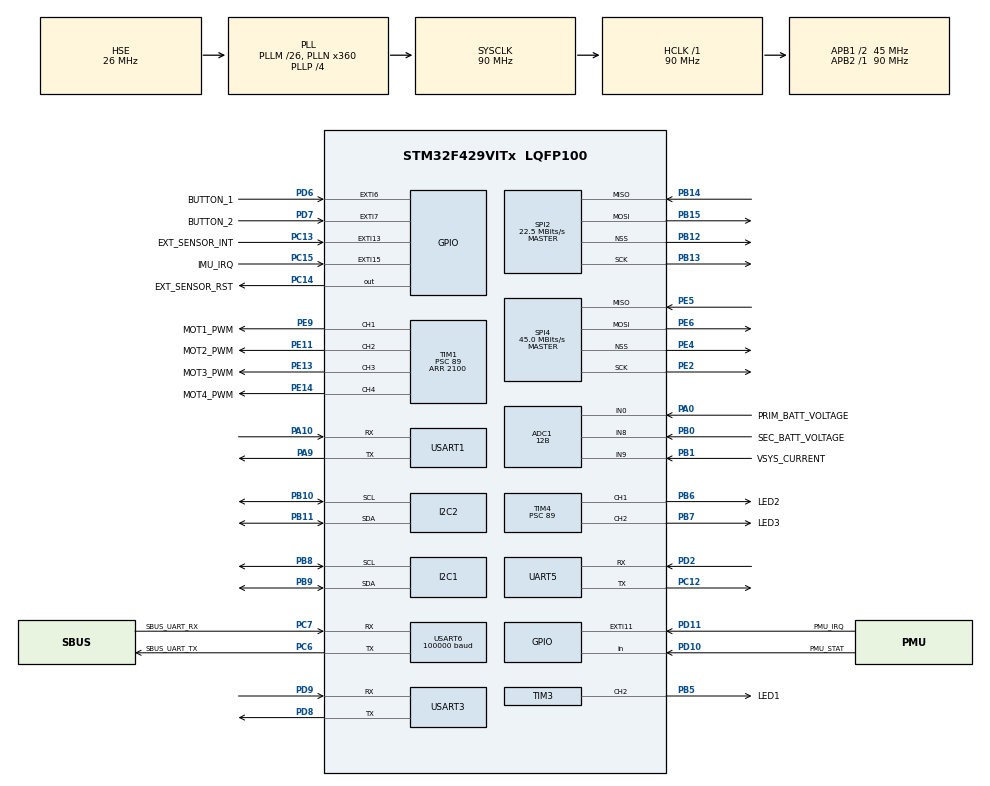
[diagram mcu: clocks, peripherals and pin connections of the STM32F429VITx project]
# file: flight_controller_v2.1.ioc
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ADC1.Channel-0\#ChannelRegularConversion=ADC_CHANNEL_0
ADC1.Channel-1\#ChannelRegularConversion=ADC_CHANNEL_8
ADC1.Channel-2\#ChannelRegularConversion=ADC_CHANNEL_9
ADC1.ClockPrescaler=ADC_CLOCK_SYNC_PCLK_DIV4
ADC1.ContinuousConvMode=DISABLE
ADC1.DMAContinuousRequests=ENABLE
ADC1.DataAlign=ADC_DATAALIGN_RIGHT
ADC1.DiscontinuousConvMode=DISABLE
ADC1.EOCSelection=ADC_EOC_SINGLE_CONV
ADC1.EnableAnalogWatchDog=false
ADC1.ExternalTrigConv=ADC_SOFTWARE_START
ADC1.ExternalTrigConvEdge=ADC_EXTERNALTRIGCONVEDGE_NONE
ADC1.InjNumberOfConversion=0
ADC1.NbrOfConversion=3
ADC1.NbrOfConversionFlag=1
ADC1.Rank-0\#ChannelRegularConversion=1
ADC1.Rank-1\#ChannelRegularConversion=2
ADC1.Rank-2\#ChannelRegularConversion=3
ADC1.Resolution=ADC_RESOLUTION_12B
ADC1.SamplingTime-0\#ChannelRegularConversion=ADC_SAMPLETIME_3CYCLES
ADC1.SamplingTime-1\#ChannelRegularConversion=ADC_SAMPLETIME_3CYCLES
ADC1.SamplingTime-2\#ChannelRegularConversion=ADC_SAMPLETIME_3CYCLES
ADC1.ScanConvMode=ENABLE
ADC1.master=1
Dma.ADC1.0.Direction=DMA_PERIPH_TO_MEMORY
Dma.ADC1.0.FIFOMode=DMA_FIFOMODE_DISABLE
Dma.ADC1.0.Instance=DMA2_Stream0
Dma.ADC1.0.MemDataAlignment=DMA_MDATAALIGN_WORD
Dma.ADC1.0.MemInc=DMA_MINC_ENABLE
Dma.ADC1.0.Mode=DMA_CIRCULAR
Dma.ADC1.0.PeriphDataAlignment=DMA_PDATAALIGN_WORD
Dma.ADC1.0.PeriphInc=DMA_PINC_DISABLE
Dma.ADC1.0.Priority=DMA_PRIORITY_LOW
Dma.I2C1_RX.1.Direction=DMA_PERIPH_TO_MEMORY
Dma.I2C1_RX.1.FIFOMode=DMA_FIFOMODE_DISABLE
Dma.I2C1_RX.1.Instance=DMA1_Stream5
Dma.I2C1_RX.1.MemDataAlignment=DMA_MDATAALIGN_BYTE
Dma.I2C1_RX.1.MemInc=DMA_MINC_ENABLE
Dma.I2C1_RX.1.Mode=DMA_NORMAL
Dma.I2C1_RX.1.PeriphDataAlignment=DMA_PDATAALIGN_BYTE
Dma.I2C1_RX.1.PeriphInc=DMA_PINC_DISABLE
Dma.I2C1_RX.1.Priority=DMA_PRIORITY_LOW
Dma.I2C1_TX.2.Direction=DMA_MEMORY_TO_PERIPH
Dma.I2C1_TX.2.FIFOMode=DMA_FIFOMODE_DISABLE
Dma.I2C1_TX.2.Instance=DMA1_Stream6
Dma.I2C1_TX.2.MemDataAlignment=DMA_MDATAALIGN_BYTE
Dma.I2C1_TX.2.MemInc=DMA_MINC_ENABLE
Dma.I2C1_TX.2.Mode=DMA_NORMAL
Dma.I2C1_TX.2.PeriphDataAlignment=DMA_PDATAALIGN_BYTE
Dma.I2C1_TX.2.PeriphInc=DMA_PINC_DISABLE
Dma.I2C1_TX.2.Priority=DMA_PRIORITY_LOW
Dma.Request0=ADC1
Dma.Request1=I2C1_RX
Dma.Request2=I2C1_TX
Dma.Request3=UART5_RX
Dma.Request4=UART5_TX
Dma.Request5=USART1_RX
Dma.Request6=USART1_TX
Dma.Request7=USART6_RX
Dma.UART5_RX.3.Direction=DMA_PERIPH_TO_MEMORY
Dma.UART5_RX.3.FIFOMode=DMA_FIFOMODE_DISABLE
Dma.UART5_RX.3.Instance=DMA1_Stream0
Dma.UART5_RX.3.MemDataAlignment=DMA_MDATAALIGN_BYTE
Dma.UART5_RX.3.MemInc=DMA_MINC_ENABLE
Dma.UART5_RX.3.Mode=DMA_NORMAL
Dma.UART5_RX.3.PeriphDataAlignment=DMA_PDATAALIGN_BYTE
Dma.UART5_RX.3.PeriphInc=DMA_PINC_DISABLE
Dma.UART5_RX.3.Priority=DMA_PRIORITY_LOW
Dma.UART5_TX.4.Direction=DMA_MEMORY_TO_PERIPH
Dma.UART5_TX.4.FIFOMode=DMA_FIFOMODE_DISABLE
Dma.UART5_TX.4.Instance=DMA1_Stream7
Dma.UART5_TX.4.MemDataAlignment=DMA_MDATAALIGN_BYTE
Dma.UART5_TX.4.MemInc=DMA_MINC_ENABLE
Dma.UART5_TX.4.Mode=DMA_NORMAL
Dma.UART5_TX.4.PeriphDataAlignment=DMA_PDATAALIGN_BYTE
Dma.UART5_TX.4.PeriphInc=DMA_PINC_DISABLE
Dma.UART5_TX.4.Priority=DMA_PRIORITY_LOW
Dma.USART1_RX.5.Direction=DMA_PERIPH_TO_MEMORY
Dma.USART1_RX.5.FIFOMode=DMA_FIFOMODE_DISABLE
Dma.USART1_RX.5.Instance=DMA2_Stream2
Dma.USART1_RX.5.MemDataAlignment=DMA_MDATAALIGN_BYTE
Dma.USART1_RX.5.MemInc=DMA_MINC_ENABLE
Dma.USART1_RX.5.Mode=DMA_NORMAL
Dma.USART1_RX.5.PeriphDataAlignment=DMA_PDATAALIGN_BYTE
Dma.USART1_RX.5.PeriphInc=DMA_PINC_DISABLE
Dma.USART1_RX.5.Priority=DMA_PRIORITY_LOW
Dma.USART1_TX.6.Direction=DMA_MEMORY_TO_PERIPH
Dma.USART1_TX.6.FIFOMode=DMA_FIFOMODE_DISABLE
Dma.USART1_TX.6.Instance=DMA2_Stream7
Dma.USART1_TX.6.MemDataAlignment=DMA_MDATAALIGN_BYTE
Dma.USART1_TX.6.MemInc=DMA_MINC_ENABLE
Dma.USART1_TX.6.Mode=DMA_NORMAL
Dma.USART1_TX.6.PeriphDataAlignment=DMA_PDATAALIGN_BYTE
Dma.USART1_TX.6.PeriphInc=DMA_PINC_DISABLE
Dma.USART1_TX.6.Priority=DMA_PRIORITY_LOW
Dma.USART6_RX.7.Direction=DMA_PERIPH_TO_MEMORY
Dma.USART6_RX.7.FIFOMode=DMA_FIFOMODE_DISABLE
Dma.USART6_RX.7.Instance=DMA2_Stream1
Dma.USART6_RX.7.MemDataAlignment=DMA_MDATAALIGN_BYTE
Dma.USART6_RX.7.MemInc=DMA_MINC_ENABLE
Dma.USART6_RX.7.Mode=DMA_CIRCULAR
Dma.USART6_RX.7.PeriphDataAlignment=DMA_PDATAALIGN_BYTE
Dma.USART6_RX.7.PeriphInc=DMA_PINC_DISABLE
Dma.USART6_RX.7.Priority=DMA_PRIORITY_LOW
Mcu.Family=STM32F4
Mcu.Name=STM32F429VITx
Mcu.Package=LQFP100
NVIC.ADC_IRQn=true\:0\:0\:false\:false\:true\:true
NVIC.DMA1_Stream0_IRQn=true\:0\:0\:false\:false\:true\:false
NVIC.DMA1_Stream5_IRQn=true\:0\:0\:false\:false\:true\:false
NVIC.DMA1_Stream6_IRQn=true\:0\:0\:false\:false\:true\:false
NVIC.DMA1_Stream7_IRQn=true\:0\:0\:false\:false\:true\:false
NVIC.DMA2_Stream0_IRQn=true\:0\:0\:false\:false\:true\:false
NVIC.DMA2_Stream1_IRQn=true\:0\:0\:false\:false\:true\:false
NVIC.DMA2_Stream2_IRQn=true\:0\:0\:false\:false\:true\:false
NVIC.DMA2_Stream7_IRQn=true\:0\:0\:false\:false\:true\:false
NVIC.EXTI15_10_IRQn=true\:0\:0\:false\:false\:true\:true
NVIC.PriorityGroup=NVIC_PRIORITYGROUP_4
NVIC.UART5_IRQn=true\:0\:0\:false\:false\:true\:true
NVIC.USART1_IRQn=true\:0\:0\:false\:false\:true\:true
NVIC.USART3_IRQn=true\:0\:0\:false\:false\:true\:true
NVIC.USART6_IRQn=true\:0\:0\:false\:false\:true\:true
PA0/WKUP.GPIO_Label=PRIM_BATT_VOLTAGE
PA0/WKUP.Signal=SharedAnalog_PA0
PA10.Mode=Asynchronous
PA10.Signal=USART1_RX
PA13.Mode=JTAG_5_pins
PA13.Signal=SYS_JTMS-SWDIO
PA14.Mode=JTAG_5_pins
PA14.Signal=SYS_JTCK-SWCLK
PA15.Mode=JTAG_5_pins
PA15.Signal=SYS_JTDI
PA9.Mode=Asynchronous
PA9.Signal=USART1_TX
PB0.GPIO_Label=SEC_BATT_VOLTAGE
PB0.Signal=SharedAnalog_PB0
PB1.GPIO_Label=VSYS_CURRENT
PB1.Signal=SharedAnalog_PB1
PB10.Mode=I2C
PB10.Signal=I2C2_SCL
PB11.Mode=I2C
PB11.Signal=I2C2_SDA
PB12.Mode=NSS_Signal_Hard_Output
PB12.Signal=SPI2_NSS
PB13.Mode=Full_Duplex_Master
PB13.Signal=SPI2_SCK
PB14.Mode=Full_Duplex_Master
PB14.Signal=SPI2_MISO
PB15.Mode=Full_Duplex_Master
PB15.Signal=SPI2_MOSI
PB3.Mode=JTAG_5_pins
PB3.Signal=SYS_JTDO-SWO
PB4.Mode=JTAG_5_pins
PB4.Signal=SYS_JTRST
PB5.GPIO_Label=LED1
PB5.Signal=S_TIM3_CH2
PB6.GPIO_Label=LED2
PB6.Signal=S_TIM4_CH1
PB7.GPIO_Label=LED3
PB7.Signal=S_TIM4_CH2
PB8.Mode=I2C
PB8.Signal=I2C1_SCL
PB9.Mode=I2C
PB9.Signal=I2C1_SDA
PC12.Mode=Asynchronous
PC12.Signal=UART5_TX
PC13.GPIO_Label=EXT_SENSOR_INT
PC13.Signal=GPXTI13
PC14/OSC32_IN.GPIO_Label=EXT_SENSOR_RST
PC14/OSC32_IN.Signal=GPIO_Output
PC15/OSC32_OUT.GPIO_Label=IMU_IRQ
PC15/OSC32_OUT.GPIO_ModeDefaultEXTI=GPIO_MODE_IT_FALLING
PC15/OSC32_OUT.Signal=GPXTI15
PC6.GPIO_Label=SBUS_UART_TX
PC6.Mode=Asynchronous
PC6.Signal=USART6_TX
PC7.GPIO_Label=SBUS_UART_RX
PC7.Mode=Asynchronous
PC7.Signal=USART6_RX
PD10.GPIO_Label=PMU_STAT
PD10.Signal=GPIO_Input
PD11.GPIO_Label=PMU_IRQ
PD11.GPIO_ModeDefaultEXTI=GPIO_MODE_IT_FALLING
PD11.Signal=GPXTI11
PD2.Mode=Asynchronous
PD2.Signal=UART5_RX
PD6.GPIO_Label=BUTTON_1
PD6.GPIO_ModeDefaultEXTI=GPIO_MODE_IT_FALLING
PD6.Signal=GPXTI6
PD7.GPIO_Label=BUTTON_2
PD7.GPIO_ModeDefaultEXTI=GPIO_MODE_IT_FALLING
PD7.Signal=GPXTI7
PD8.Mode=Asynchronous
PD8.Signal=USART3_TX
PD9.Mode=Asynchronous
PD9.Signal=USART3_RX
PE11.GPIO_Label=MOT2_PWM
PE11.Signal=S_TIM1_CH2
PE13.GPIO_Label=MOT3_PWM
PE13.Signal=S_TIM1_CH3
PE14.GPIO_Label=MOT4_PWM
PE14.Signal=S_TIM1_CH4
PE2.Mode=Full_Duplex_Master
PE2.Signal=SPI4_SCK
PE4.Mode=NSS_Signal_Hard_Output
PE4.Signal=SPI4_NSS
PE5.Mode=Full_Duplex_Master
PE5.Signal=SPI4_MISO
PE6.Mode=Full_Duplex_Master
PE6.Signal=SPI4_MOSI
PE9.GPIO_Label=MOT1_PWM
PE9.Signal=S_TIM1_CH1
PH0/OSC_IN.Mode=HSE-External-Oscillator
PH0/OSC_IN.Signal=RCC_OSC_IN
PH1/OSC_OUT.Mode=HSE-External-Oscillator
PH1/OSC_OUT.Signal=RCC_OSC_OUT
ProjectManager.HeapSize=0x200
ProjectManager.StackSize=0x400
ProjectManager.TargetToolchain=SW4STM32
RCC.48MHZClocksFreq_Value=90000000
RCC.AHBFreq_Value=90000000
RCC.APB1CLKDivider=RCC_HCLK_DIV2
RCC.APB1Freq_Value=45000000
RCC.APB1TimFreq_Value=90000000
RCC.APB2Freq_Value=90000000
RCC.APB2TimFreq_Value=90000000
RCC.CortexFreq_Value=11250000
RCC.Cortex_Div=SYSTICK_CLKSOURCE_HCLK_DIV8
RCC.HCLKFreq_Value=90000000
RCC.HSE_VALUE=26000000
RCC.HSI_VALUE=16000000
RCC.LSE_VALUE=32768
RCC.PLLM=26
RCC.PLLN=360
RCC.PLLP=RCC_PLLP_DIV4
RCC.PLLSourceVirtual=RCC_PLLSOURCE_HSE
RCC.PWR_Regulator_Voltage_Scale=PWR_REGULATOR_VOLTAGE_SCALE1
RCC.SYSCLKFreq_VALUE=90000000
RCC.SYSCLKSource=RCC_SYSCLKSOURCE_PLLCLK
RCC.VCOOutputFreq_Value=360000000
SH.S_TIM1_CH1.0=TIM1_CH1,PWM Generation1 CH1
SH.S_TIM1_CH2.0=TIM1_CH2,PWM Generation2 CH2
SH.S_TIM1_CH3.0=TIM1_CH3,PWM Generation3 CH3
SH.S_TIM1_CH4.0=TIM1_CH4,PWM Generation4 CH4
SH.S_TIM3_CH2.0=TIM3_CH2,PWM Generation2 CH2
SH.S_TIM4_CH1.0=TIM4_CH1,PWM Generation1 CH1
SH.S_TIM4_CH2.0=TIM4_CH2,PWM Generation2 CH2
SH.SharedAnalog_PA0.0=GPIO_Analog
SH.SharedAnalog_PA0.1=ADC1_IN0,IN0
SH.SharedAnalog_PB0.0=GPIO_Analog
SH.SharedAnalog_PB0.1=ADC1_IN8,IN8
SH.SharedAnalog_PB1.0=GPIO_Analog
SH.SharedAnalog_PB1.1=ADC1_IN9,IN9
SPI2.BaudRatePrescaler=SPI_BAUDRATEPRESCALER_2
SPI2.CalculateBaudRate=22.5 MBits/s
SPI2.Direction=SPI_DIRECTION_2LINES
SPI2.Mode=SPI_MODE_MASTER
SPI2.VirtualNSS=VM_NSSHARD
SPI2.VirtualType=VM_MASTER
SPI4.BaudRatePrescaler=SPI_BAUDRATEPRESCALER_2
SPI4.CalculateBaudRate=45.0 MBits/s
SPI4.Direction=SPI_DIRECTION_2LINES
SPI4.Mode=SPI_MODE_MASTER
SPI4.VirtualNSS=VM_NSSHARD
SPI4.VirtualType=VM_MASTER
TIM1.Channel-PWM\ Generation1\ CH1=TIM_CHANNEL_1
TIM1.Channel-PWM\ Generation2\ CH2=TIM_CHANNEL_2
TIM1.Channel-PWM\ Generation3\ CH3=TIM_CHANNEL_3
TIM1.Channel-PWM\ Generation4\ CH4=TIM_CHANNEL_4
TIM1.ClockDivision=TIM_CLOCKDIVISION_DIV1
TIM1.Period=2100
TIM1.Prescaler=89
TIM2.Period=4294967295
TIM2.Prescaler=89
TIM3.Channel-PWM\ Generation2\ CH2=TIM_CHANNEL_2
TIM3.ClockDivision=TIM_CLOCKDIVISION_DIV1
TIM3.Period=1000
TIM3.Prescaler=89
TIM4.Channel-PWM\ Generation1\ CH1=TIM_CHANNEL_1
TIM4.Channel-PWM\ Generation2\ CH2=TIM_CHANNEL_2
TIM4.Period=1000
TIM4.Prescaler=89
UART5.VirtualMode=Asynchronous
USART1.VirtualMode=VM_ASYNC
USART3.VirtualMode=VM_ASYNC
USART6.BaudRate=100000
USART6.Parity=PARITY_EVEN
USART6.StopBits=STOPBITS_2
USART6.VirtualMode=VM_ASYNC
USART6.WordLength=WORDLENGTH_9B
VP_TIM1_VS_ClockSourceINT.Mode=Internal
VP_TIM2_VS_ClockSourceINT.Mode=Internal
VP_TIM3_VS_ClockSourceINT.Mode=Internal
VP_TIM4_VS_ClockSourceINT.Mode=Internal
board=FlightController_v2

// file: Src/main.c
/**
  ******************************************************************************
  * @file           : main.c
  * @brief          : Main program body
  ******************************************************************************
  ** This notice applies to any and all portions of this file
  * that are not between comment pairs USER CODE BEGIN and
  * USER CODE END. Other portions of this file, whether
  * inserted by the user or by software development tools
  * are owned by their respective copyright owners.
  *
  * COPYRIGHT(c) 2020 STMicroelectronics
  *
  * Redistribution and use in source and binary forms, with or without modification,
  * are permitted provided that the following conditions are met:
  *   1. Redistributions of source code must retain the above copyright notice,
  *      this list of conditions and the following disclaimer.
  *   2. Redistributions in binary form must reproduce the above copyright notice,
  *      this list of conditions and the following disclaimer in the documentation
  *      and/or other materials provided with the distribution.
  *   3. Neither the name of STMicroelectronics nor the names of its contributors
  *      may be used to endorse or promote products derived from this software
  *      without specific prior written permission.
  *
  * THIS SOFTWARE IS PROVIDED BY THE COPYRIGHT HOLDERS AND CONTRIBUTORS "AS IS"
  * AND ANY EXPRESS OR IMPLIED WARRANTIES, INCLUDING, BUT NOT LIMITED TO, THE
  * IMPLIED WARRANTIES OF MERCHANTABILITY AND FITNESS FOR A PARTICULAR PURPOSE ARE
  * DISCLAIMED. IN NO EVENT SHALL THE COPYRIGHT HOLDER OR CONTRIBUTORS BE LIABLE
  * FOR ANY DIRECT, INDIRECT, INCIDENTAL, SPECIAL, EXEMPLARY, OR CONSEQUENTIAL
  * DAMAGES (INCLUDING, BUT NOT LIMITED TO, PROCUREMENT OF SUBSTITUTE GOODS OR
  * SERVICES; LOSS OF USE, DATA, OR PROFITS; OR BUSINESS INTERRUPTION) HOWEVER
  * CAUSED AND ON ANY THEORY OF LIABILITY, WHETHER IN CONTRACT, STRICT LIABILITY,
  * OR TORT (INCLUDING NEGLIGENCE OR OTHERWISE) ARISING IN ANY WAY OUT OF THE USE
  * OF THIS SOFTWARE, EVEN IF ADVISED OF THE POSSIBILITY OF SUCH DAMAGE.
  *
  ******************************************************************************
  */
#include "main.h"
#include "math.h"
#include "stm32f4xx_hal.h"
#include "adc.h"
#include "dma.h"
#include "i2c.h"
#include "spi.h"
#include "tim.h"
#include "usart.h"
#include "gpio.h"

/* USER CODE BEGIN Includes */

#include "string.h"
#include "stdbool.h"
#include <stdlib.h>
#include "MPU9250.h"
#include "MahonyAHRS.h"

#define M_PI 3.1415926
#define EPSILON 0.0000001

#define NUM_ADC_CHANNELS 3
#define DEBUG_TX_BUFFER_SIZE 50
#define DEBUG_RX_BUFFER_SIZE 50
#define SBUS_RX_BUFFER_SIZE 50

// Motor timer channels
// FL = Front-left
// RR = Rear-right
#define MOTOR_RL_TIM_CHANNEL TIM_CHANNEL_3
#define MOTOR_FL_TIM_CHANNEL TIM_CHANNEL_4
#define MOTOR_FR_TIM_CHANNEL TIM_CHANNEL_1
#define MOTOR_RR_TIM_CHANNEL TIM_CHANNEL_2
#define MOTOR_TIMER_INSTANCE &htim1

#define MOTOR_MIN_PULSE 1000 // In microseconds
#define MOTOR_MAX_PULSE 2000 // In microseconds
#define MOTOR_IDLE_SPEED 7 // In %

#define __ADC_RAW_TO_VOLTS(adc_val) ((double)adc_val)*0.0007326 //1LSB = 3.0V/4095
#define __PRIM_BATT_VOLTAGE(adc_volts) (1.500 + ((double)adc_volts)*0.3667)*5.5946
#define __SEC_BATT_VOLTAGE(adc_volts) (1.500 + ((double)adc_volts)*0.3667)*1.8667
#define __SYS_CURRENT(adc_volts) (((double)adc_volts)/200.0)/0.01 //200V/V gain and 0R01 sense resistor

#define DEBUG_OVER_WIRELESS

#ifdef DEBUG_OVER_WIRELESS
#define SERIAL_DEBUG_UART_INSTANCE &huart5
#endif

#ifndef DEBUG_OVER_WIRELESS
#define SERIAL_DEBUG_UART_INSTANCE &huart1
#endif

#define SBUS_UART_INSTANCE &huart6

/* USER CODE END Includes */

/* USER CODE BEGIN PV */
/* Private variables ---------------------------------------------------------*/

typedef enum
{
	GET_PRIM_BATTERY_V = 0,
	GET_SEC_BATTERY_V = 1,
	GET_SYS_CURRENT_I = 2
} debug_command_t;

char buffer[1024]; // to store data
uint32_t ADC_BUFF[NUM_ADC_CHANNELS];
bool led3_state = 0;
uint32_t sbus_packets = 0;

__IO uint8_t sbus_rx_buffer[SBUS_RX_BUFFER_SIZE];

__IO uint8_t debug_rx_buffer[DEBUG_RX_BUFFER_SIZE];
__IO uint8_t debug_tx_buffer[DEBUG_TX_BUFFER_SIZE];

__IO uint16_t receiver_inputs[17];
__IO uint8_t imu_data_buffer[21];

__IO bool imu_data_ready_flag = false;

__IO bool i2c1_mem_rx_irq_flag = false;
__IO bool i2c1_mem_tx_irq_flag = false;

__IO bool flg_new_debug_message = false;
__IO bool flg_new_receiver_input = false;

__IO bool continuous_imu_collection = false;

bool kill_switch_active = true;
bool started_main_loop = false;

//YMFC variables//
///////////////////////////////////////////////////////////////////////////////////////////////////////////////////////////////////////
//PID gain and limit settings
///////////////////////////////////////////////////////////////////////////////////////////////////////////////////////////////////////
float pid_p_gain_roll = 2;               //Gain setting for the roll P-controller
float pid_i_gain_roll = 0.05;//0.0002;              //Gain setting for the roll I-controller
float pid_d_gain_roll = 5.0;              //Gain setting for the roll D-controller
int pid_max_roll = 400;                    //Maximum output of the PID-controller (+/-)

float pid_p_gain_pitch = 2;  //Gain setting for the pitch P-controller.
float pid_i_gain_pitch = 0.05;//0.0002;//pid_i_gain_roll;  //Gain setting for the pitch I-controller.
float pid_d_gain_pitch = 5.0;//pid_d_gain_roll;  //Gain setting for the pitch D-controller.
int pid_max_pitch = 400;//pid_max_roll;          //Maximum output of the PID-controller (+/-)

float pid_p_gain_yaw = 10.0;                //Gain setting for the pitch P-controller. //4.0
float pid_i_gain_yaw = 0.02;               //Gain setting for the pitch I-controller. //0.02
float pid_d_gain_yaw = 0.0;                //Gain setting for the pitch D-controller.
int pid_max_yaw = 400;                     //Maximum output of the PID-controller (+/-)

bool auto_level = false;                 //Auto level on (true) or off (false)

///////////////////////////////////////////////////////////////////////////////////////////////////////////////////////////////////////
//Declaring global variables
///////////////////////////////////////////////////////////////////////////////////////////////////////////////////////////////////////
//uint8_t last_channel_1, last_channel_2, last_channel_3, last_channel_4;
volatile int receiver_input_channel_1, receiver_input_channel_2, receiver_input_channel_3, receiver_input_channel_4;
int counter_channel_1, counter_channel_2, counter_channel_3, counter_channel_4, loop_counter;
int esc_1, esc_2, esc_3, esc_4;
int throttle, battery_voltage;
int cal_int, start, gyro_address, num_samples;
int receiver_input[5];
int temperature;
int acc_axis[4], gyro_axis[4];
float roll_level_adjust, pitch_level_adjust;

long acc_x, acc_y, acc_z, acc_total_vector;
unsigned long timer_channel_1, timer_channel_2, timer_channel_3, timer_channel_4, esc_timer, esc_loop_timer;
unsigned long timer_1, timer_2, timer_3, timer_4, current_time;
unsigned long loop_timer;
double gyro_pitch, gyro_roll, gyro_yaw;
double gyro_axis_cal[4];
float pid_error_temp;
float pid_i_mem_roll, pid_roll_setpoint, gyro_roll_input, pid_output_roll, pid_last_roll_d_error;
float pid_i_mem_pitch, pid_pitch_setpoint, gyro_pitch_input, pid_output_pitch, pid_last_pitch_d_error;
float pid_i_mem_yaw, pid_yaw_setpoint, gyro_yaw_input, pid_output_yaw, pid_last_yaw_d_error;
float angle_roll_acc, angle_pitch_acc, angle_pitch, angle_roll;
bool gyro_angles_set;

/* USER CODE END PV */

void SystemClock_Config(void);

/* USER CODE BEGIN PFP */
/* Private function prototypes -----------------------------------------------*/

// Debug print functions
void send_debug_string_blocking(UART_HandleTypeDef *huart, char *string);
void send_debug_string_dma(UART_HandleTypeDef *huart, char *string);

// Init functions
void ADC_Init(void);
void sbus_init(void);

void config_LEDs_for_GPIO(void);
void config_LEDs_for_PWM(void);

// IMU helper functions
void start_imu_dma_transfer(void);

// Receiver helper functions
void update_receiver_inputs(void);

// DMA helper functions
void flush_sbus_dma_buffer(void);
void flush_debug_dma_buffer(void);
void flush_imu_dma_buffer(void);

// ADC callbacks
void HAL_ADC_ConvCpltCallback(ADC_HandleTypeDef* hadc);

// UART transfer callbacks
void HAL_UART_RxCpltCallback(UART_HandleTypeDef *huart);
void HAL_UART_TxCpltCallback(UART_HandleTypeDef *huart);
void HAL_UART_TxHalfCpltCallback(UART_HandleTypeDef *huart);

// UART interrupt callbacks
void USART1_IRQCallback(void);
void UART5_IRQCallback(void);
void UART6_IRQCallback(void);

// I2C callbacks
void HAL_I2C_MemTxCpltCallback(I2C_HandleTypeDef *hi2c);
void HAL_I2C_MemRxCpltCallback(I2C_HandleTypeDef *hi2c);

// GPIO callbacks
void HAL_GPIO_EXTI_Callback(uint16_t GPIO_Pin);

// Microsecond timer functions
void Microseconds_Timer_Init(void);
void reset_micros(void);
uint32_t get_micros(void);

// Motor helper functions
void set_motor_speed_percent(uint32_t motor_Channel, float percent);
void set_motor_speed_pulse(uint32_t motor_Channel, float pulse);
void idle_all_motors();
void stop_all_motors();
void stop_motor(uint32_t motor_Channel);

float convert_AHRS_pitch(float AHRS_pitch);
float convert_AHRS_roll(float AHRS_roll);
float convert_AHRS_yaw(float AHRS_yaw);

bool check_kill_switch(void);

// YMFC functions
void convertInputToYMFC();
void calculate_pid();

/* USER CODE END PFP */

int main(void)
{

  /* MCU Configuration----------------------------------------------------------*/

  /* Reset of all peripherals, Initializes the Flash interface and the Systick. */
  HAL_Init();

  /* Configure the system clock */
  SystemClock_Config();

  /* Initialize all configured peripherals */
  MX_GPIO_Init();
  MX_DMA_Init();
  MX_USART1_UART_Init();
  MX_USART3_UART_Init();
  MX_I2C1_Init();
  MX_I2C2_Init();
  MX_UART5_Init();
  MX_TIM3_Init();
  MX_TIM4_Init();
  MX_SPI4_Init();
  MX_USART6_UART_Init();
  MX_ADC1_Init();
  MX_TIM1_Init();
  MX_TIM2_Init();
  MX_SPI2_Init();
  /* USER CODE BEGIN 2 */
  ADC_Init();
  sbus_init();
  Microseconds_Timer_Init();
  /* USER CODE END 2 */

  /* Infinite loop */
  /* USER CODE BEGIN WHILE */
  config_LEDs_for_GPIO();
  stop_all_motors();
  // Enable idle line interrupts for serial debug
  __HAL_UART_ENABLE_IT(SERIAL_DEBUG_UART_INSTANCE, UART_IT_IDLE);

  // Flush SBUS dma buffer
  flush_sbus_dma_buffer();

  // Enable idle line interrupt for SBUS
  __HAL_UART_ENABLE_IT(SBUS_UART_INSTANCE, UART_IT_IDLE);

  // Start DMA for serial debug
  HAL_UART_Receive_DMA(SERIAL_DEBUG_UART_INSTANCE, debug_rx_buffer, sizeof(debug_rx_buffer));

  // Give time for ADC to collect sample
  HAL_Delay(10);

  float prim_batt_volts = __PRIM_BATT_VOLTAGE(__ADC_RAW_TO_VOLTS(ADC_BUFF[0]));
  float sec_batt_volts = __SEC_BATT_VOLTAGE(__ADC_RAW_TO_VOLTS(ADC_BUFF[1]));
  float sys_current_amps = __SYS_CURRENT(__ADC_RAW_TO_VOLTS(ADC_BUFF[2]));

  sprintf (buffer, "Primary battery: %0.3f V\n", prim_batt_volts);
  send_debug_string_blocking(SERIAL_DEBUG_UART_INSTANCE, buffer);

  sprintf (buffer, "Secondary battery: %0.3f V\n", sec_batt_volts);
  send_debug_string_blocking(SERIAL_DEBUG_UART_INSTANCE, buffer);

  sprintf (buffer, "System current: %0.3f A\n", sys_current_amps);
  send_debug_string_blocking(SERIAL_DEBUG_UART_INSTANCE, buffer);

  // If under voltage, blink red LED to indicate
	if(prim_batt_volts < 10.5)
	{
		sprintf (buffer, "Low battery!\n");
		send_debug_string_blocking(SERIAL_DEBUG_UART_INSTANCE, buffer);
		for(uint8_t i = 0; i < 10; i++)
		{
			HAL_GPIO_TogglePin(LED2_GPIO_Port, LED2_Pin);
			HAL_Delay(100);
			HAL_GPIO_TogglePin(LED2_GPIO_Port, LED2_Pin);
			HAL_Delay(100);
		}
	}

	if(prim_batt_volts < 10.0)
	{
		sprintf (buffer, "Battery level too low to start\n");
		send_debug_string_blocking(SERIAL_DEBUG_UART_INSTANCE, buffer);
		while(1);
	}

  /*
    uint8_t i2c1_rx_buffer[1];

	// Read BMP280 ID register
	HAL_I2C_Mem_Read_DMA(&hi2c1, 0x76<<1, 0xD0, 1 , i2c1_rx_buffer, 1);
	i2c1_mem_rx_irq_flag = false;
	while(!i2c1_mem_rx_irq_flag);
	sprintf (buffer, "BMP280 ID: %X\n", i2c1_rx_buffer[0]);
	send_debug_string_blocking(SERIAL_DEBUG_UART_INSTANCE, buffer);

	uint8_t reg_val = MPU9250_PRIV_whoAmI();
	sprintf (buffer, "MPU9250 ID: %X\n", reg_val);
	send_debug_string_blocking(SERIAL_DEBUG_UART_INSTANCE, buffer);
*/
  	int8_t ret = 0;
	ret = MPU9250_begin();
	sprintf (buffer, "%d IMU initialized\n", ret);
	send_debug_string_blocking(SERIAL_DEBUG_UART_INSTANCE, buffer);

	// setting the accelerometer full scale range to +/-8G
	ret = MPU9250_setAccelRange(ACCEL_RANGE_8G);
	sprintf (buffer, "%d IMU accel range updated\n", ret);
	send_debug_string_blocking(SERIAL_DEBUG_UART_INSTANCE, buffer);

	// setting the gyroscope full scale range to +/-500 deg/s
	ret = MPU9250_setGyroRange(GYRO_RANGE_500DPS);
	sprintf (buffer, "%d IMU gyro range updated\n", ret);
	send_debug_string_blocking(SERIAL_DEBUG_UART_INSTANCE, buffer);

	// setting DLPF bandwidth to 184 Hz
	ret = MPU9250_setDlpfBandwidth(DLPF_BANDWIDTH_184HZ);
	sprintf (buffer, "%d IMU bandwidth updated\n", ret);
	send_debug_string_blocking(SERIAL_DEBUG_UART_INSTANCE, buffer);

	// setting SRD to 2 for a 500 Hz update rate
	//MPU9250_setSrd(0);

	// IMU ready and calibrated, set start to 0
	start = 0;

	MPU9250_enableDataReadyInterrupt();
	continuous_imu_collection = true;
	HAL_NVIC_EnableIRQ(EXTI15_10_IRQn);

	// Wait a little bit to ensure an IMU sample has come in
	HAL_Delay(3);

	// Begin Mahony filter and set to 1kHz sample frequency
	Mahony_begin(1000);

	float acc_x = 0;//MPU9250_getAccelX_mss();
	float acc_y = 0;//MPU9250_getAccelY_mss();
	float acc_z = 0;//MPU9250_getAccelZ_mss();

	float gyro_x = 0;//(-1)*MPU9250_getGyroX_rads();
	float gyro_y = 0;//(-1)*MPU9250_getGyroY_rads();
	float gyro_z = 0;//MPU9250_getGyroZ_rads();

	float mag_x = 0;//MPU9250_getMagX_uT();
	float mag_y = 0;//MPU9250_getMagY_uT();
	float mag_z = 0;//MPU9250_getMagZ_uT();

	uint32_t loop_counter = 0;

	// Enable all PWM channels so the ESC start-up
	set_motor_speed_percent(MOTOR_RL_TIM_CHANNEL, 0);
	set_motor_speed_percent(MOTOR_FL_TIM_CHANNEL, 0);
	set_motor_speed_percent(MOTOR_FR_TIM_CHANNEL, 0);
	set_motor_speed_percent(MOTOR_RR_TIM_CHANNEL, 0);

	// Do not start until kill switch goes from on to off
	while(!check_kill_switch()) //Wait until kill switch is on
	{
		sprintf(buffer, "%d %d %d \r\n", receiver_inputs[0], receiver_inputs[4],check_kill_switch());
		send_debug_string_dma(SERIAL_DEBUG_UART_INSTANCE, buffer);
		HAL_Delay(100);

	}
	while(check_kill_switch()) //Wait until kill switch is off
	{
			sprintf(buffer, "%d %d %d \r\n", receiver_inputs[0], receiver_inputs[4],check_kill_switch());
			send_debug_string_dma(SERIAL_DEBUG_UART_INSTANCE, buffer);
			HAL_Delay(100);

	}
	// Startup motors
	started_main_loop = true; // Set this flag to let some interrupts know

  while (1)
  {
	reset_micros();

	// Blink LED
	HAL_GPIO_TogglePin(LED2_GPIO_Port, LED2_Pin);
	HAL_GPIO_TogglePin(LED2_GPIO_Port, LED2_Pin);

	// Update battery voltage
	prim_batt_volts = __PRIM_BATT_VOLTAGE(__ADC_RAW_TO_VOLTS(ADC_BUFF[0]));
	sec_batt_volts = __SEC_BATT_VOLTAGE(__ADC_RAW_TO_VOLTS(ADC_BUFF[1]));
	sys_current_amps = __SYS_CURRENT(__ADC_RAW_TO_VOLTS(ADC_BUFF[2]));

	// Get new IMU data
	acc_x = MPU9250_getAccelX_mss()/9.81f;
	acc_y = MPU9250_getAccelY_mss()/9.81f;
	acc_z = MPU9250_getAccelZ_mss()/9.81f;

	gyro_x = MPU9250_getGyroX_rads()*57.29578f;
	gyro_y = MPU9250_getGyroY_rads()*57.29578f;
	gyro_z = MPU9250_getGyroZ_rads()*57.29578f;

	//mag_x = MPU9250_getMagX_uT();
	//mag_y = MPU9250_getMagY_uT();
	//mag_z = MPU9250_getMagZ_uT();

	// Update AHRS filter
	Mahony_update(gyro_x, gyro_y, gyro_z, acc_x, acc_y, acc_z, mag_x, mag_y, mag_z);

	// Update YMFC angle variables

	// Use complementary filter for gyro inputs
	gyro_roll_input = (gyro_roll_input * 0.7) + (gyro_x * 0.3);   //Gyro pid input is deg/sec.
	gyro_pitch_input = (gyro_pitch_input * 0.7) + (gyro_y * 0.3);//Gyro pid input is deg/sec.
	gyro_yaw_input = (gyro_yaw_input * 0.7) + (gyro_z * 0.3);      //Gyro pid input is deg/sec.

	angle_pitch = convert_AHRS_pitch(Mahony_getPitch());
	angle_roll = convert_AHRS_roll(Mahony_getRoll());

	pitch_level_adjust = angle_pitch * 15;                                    //Calculate the pitch angle correction
	roll_level_adjust = angle_roll * 15;                                      //Calculate the roll angle correction

	if(!auto_level){                                                          //If the quadcopter is not in auto-level mode
		pitch_level_adjust = 0;                                                 //Set the pitch angle correction to zero.
		roll_level_adjust = 0;                                                  //Set the roll angle correcion to zero.
	}

	//For starting the motors: throttle low and yaw left (step 1).
	if(receiver_input_channel_3 < 1050 && receiver_input_channel_4 < 1050)start = 1;
	//When yaw stick is back in the center position start the motors (step 2).
	if(start == 1 && receiver_input_channel_3 < 1050 && receiver_input_channel_4 > 1450){
		start = 2;

		angle_pitch = angle_pitch_acc;                                          //Set the gyro pitch angle equal to the accelerometer pitch angle when the quadcopter is started.
		angle_roll = angle_roll_acc;                                            //Set the gyro roll angle equal to the accelerometer roll angle when the quadcopter is started.
		gyro_angles_set = true;                                                 //Set the IMU started flag.

		//Reset the PID controllers for a bumpless start.
		pid_i_mem_roll = 0;
		pid_last_roll_d_error = 0;
		pid_i_mem_pitch = 0;
		pid_last_pitch_d_error = 0;
		pid_i_mem_yaw = 0;
		pid_last_yaw_d_error = 0;

	}

	//Stopping the motors: throttle low and yaw right.
	if(start == 2 && receiver_input_channel_3 < 1050 && receiver_input_channel_4 > 1950)start = 0;

	//The PID set point in degrees per second is determined by the roll receiver input.
	//In the case of deviding by 3 the max roll rate is aprox 164 degrees per second ( (500-8)/3 = 164d/s ).
	pid_roll_setpoint = 0;
	//We need a little dead band of 16us for better results.
	if(receiver_input_channel_1 > 1508)pid_roll_setpoint = receiver_input_channel_1 - 1508;
	else if(receiver_input_channel_1 < 1492)pid_roll_setpoint = receiver_input_channel_1 - 1492;

	pid_roll_setpoint -= roll_level_adjust;                                   //Subtract the angle correction from the standardized receiver roll input value.
	pid_roll_setpoint /= 3.0;                                                 //Divide the setpoint for the PID roll controller by 3 to get angles in degrees.

	//The PID set point in degrees per second is determined by the pitch receiver input.
	//In the case of deviding by 3 the max pitch rate is aprox 164 degrees per second ( (500-8)/3 = 164d/s ).
	pid_pitch_setpoint = 0;
	//We need a little dead band of 16us for better results.
	if(receiver_input_channel_2 > 1508)pid_pitch_setpoint = (receiver_input_channel_2 - 1508)*-1;
	else if(receiver_input_channel_2 < 1492)pid_pitch_setpoint = (receiver_input_channel_2 - 1492)*-1;

	pid_pitch_setpoint -= pitch_level_adjust;                                  //Subtract the angle correction from the standardized receiver pitch input value.
	pid_pitch_setpoint /= 3.0;                                                 //Divide the setpoint for the PID pitch controller by 3 to get angles in degrees.

	//The PID set point in degrees per second is determined by the yaw receiver input.
	//In the case of deviding by 3 the max yaw rate is aprox 164 degrees per second ( (500-8)/3 = 164d/s ).
	pid_yaw_setpoint = 0;

	//We need a little dead band of 16us for better results.
	if(receiver_input_channel_3 > 1050){ //Do not yaw when turning off the motors.
		if(receiver_input_channel_4 > 1508)pid_yaw_setpoint = ((receiver_input_channel_4 - 1508)/3.0)*1;//*-1 to invert yaw direction
		else if(receiver_input_channel_4 < 1492)pid_yaw_setpoint = ((receiver_input_channel_4 - 1492)/3.0)*1;//*-1 to invert yaw direction
	}

	calculate_pid();                                                            //PID inputs are known. So we can calculate the pid output.

	throttle = receiver_input_channel_3;                                      //We need the throttle signal as a base signal.

	if (start == 2){                                                          //The motors are started.
		if (throttle > 1800) throttle = 1800;                                   //We need some room to keep full control at full throttle.
		esc_1 = throttle - pid_output_pitch + pid_output_roll - pid_output_yaw; //Calculate the pulse for esc 1 (front-right - CCW)
		esc_2 = throttle + pid_output_pitch + pid_output_roll + pid_output_yaw; //Calculate the pulse for esc 2 (rear-right - CW)
		esc_3 = throttle + pid_output_pitch - pid_output_roll - pid_output_yaw; //Calculate the pulse for esc 3 (rear-left - CCW)
		esc_4 = throttle - pid_output_pitch - pid_output_roll + pid_output_yaw; //Calculate the pulse for esc 4 (front-left - CW)

		if (esc_1 < 1100) esc_1 = 1100;                                         //Keep the motors running.
		if (esc_2 < 1100) esc_2 = 1100;                                         //Keep the motors running.
		if (esc_3 < 1100) esc_3 = 1100;                                         //Keep the motors running.
		if (esc_4 < 1100) esc_4 = 1100;                                         //Keep the motors running.

		if(esc_1 > 2000)esc_1 = 2000;                                           //Limit the esc-1 pulse to 2000us.
		if(esc_2 > 2000)esc_2 = 2000;                                           //Limit the esc-2 pulse to 2000us.
		if(esc_3 > 2000)esc_3 = 2000;                                           //Limit the esc-3 pulse to 2000us.
		if(esc_4 > 2000)esc_4 = 2000;                                           //Limit the esc-4 pulse to 2000us.
	}

	else{
	esc_1 = 1050;                                                           //If start is not 2 keep a 1000us pulse for ess-1.
	esc_2 = 1050;                                                           //If start is not 2 keep a 1000us pulse for ess-2.
	esc_3 = 1050;                                                           //If start is not 2 keep a 1000us pulse for ess-3.
	esc_4 = 1050;                                                           //If start is not 2 keep a 1000us pulse for ess-4.
	}

	if(!check_kill_switch())
	{
		set_motor_speed_pulse(MOTOR_FR_TIM_CHANNEL, esc_1);
		set_motor_speed_pulse(MOTOR_RR_TIM_CHANNEL, esc_2);
		set_motor_speed_pulse(MOTOR_RL_TIM_CHANNEL, esc_3);
		set_motor_speed_pulse(MOTOR_FL_TIM_CHANNEL, esc_4);
	}

	if(flg_new_receiver_input)
	{
		sbus_packets ++;
		update_receiver_inputs();
		convertInputToYMFC();
		flush_sbus_dma_buffer();
		flg_new_receiver_input = false;
		check_kill_switch();
	}

	if(flg_new_debug_message)
	{
		//Make a copy of the message so the DMA can get flushed
		uint8_t message_copy[DEBUG_RX_BUFFER_SIZE];
		memcpy(message_copy, debug_rx_buffer, strlen(debug_rx_buffer));

		//flush_UART1_dma_buffer();
		flush_debug_dma_buffer();

		// Check what type of message was received
		if(message_copy[0] == 'C')
		{

			char command_string[] = {message_copy[2]};
			uint8_t command = atoi(command_string);

			if(command == GET_PRIM_BATTERY_V)
			{
				sprintf(debug_tx_buffer, "R %d %0.3f \r\n", GET_PRIM_BATTERY_V, prim_batt_volts);
				send_debug_string_dma(SERIAL_DEBUG_UART_INSTANCE, debug_tx_buffer);
			}
			else if(command == GET_SEC_BATTERY_V)
			{
				sprintf(debug_tx_buffer, "R %d %0.3f \r\n", GET_SEC_BATTERY_V, sec_batt_volts);
				send_debug_string_dma(SERIAL_DEBUG_UART_INSTANCE, debug_tx_buffer);
			}
			else if(command == GET_SYS_CURRENT_I)
			{
				sprintf(debug_tx_buffer, "R %d %0.3f \r\n", GET_SYS_CURRENT_I, sys_current_amps);
				send_debug_string_dma(SERIAL_DEBUG_UART_INSTANCE, debug_tx_buffer);
			}
		}
		// Clear message received flag
		flg_new_debug_message = false;
	}

	//idle_all_motors();

	if(loop_counter%40 == 0)
	{
		//sprintf (debug_tx_buffer, "Channels: %d %d %d %d\r\n", receiver_inputs[0], receiver_inputs[1], receiver_inputs[2], receiver_inputs[3]);
		//send_debug_string_dma(SERIAL_DEBUG_UART_INSTANCE, debug_tx_buffer);
	}
	if(loop_counter%100 == 0)
	{
		//sprintf (buffer, "Gyro: %0.2f %0.2f %0.2f -- Pitch: %0.1f Roll: %0.1f Yaw: %0.1f\n", gyro_x, gyro_y, gyro_z, convert_AHRS_pitch(Mahony_getPitch()), convert_AHRS_roll(Mahony_getRoll()), convert_AHRS_yaw(Mahony_getYaw()));
		//send_debug_string_dma(SERIAL_DEBUG_UART_INSTANCE, buffer);
	}
	loop_counter ++;
	while((get_micros()) < 1000);

  /* USER CODE END WHILE */

  }

}

void SystemClock_Config(void)
{

  RCC_OscInitTypeDef RCC_OscInitStruct;
  RCC_ClkInitTypeDef RCC_ClkInitStruct;

    /**Configure the main internal regulator output voltage
    */
  __HAL_RCC_PWR_CLK_ENABLE();

  __HAL_PWR_VOLTAGESCALING_CONFIG(PWR_REGULATOR_VOLTAGE_SCALE1);

    /**Initializes the CPU, AHB and APB busses clocks
    */
  RCC_OscInitStruct.OscillatorType = RCC_OSCILLATORTYPE_HSE;
  RCC_OscInitStruct.HSEState = RCC_HSE_ON;
  RCC_OscInitStruct.PLL.PLLState = RCC_PLL_ON;
  RCC_OscInitStruct.PLL.PLLSource = RCC_PLLSOURCE_HSE;
  RCC_OscInitStruct.PLL.PLLM = 26;
  RCC_OscInitStruct.PLL.PLLN = 360;
  RCC_OscInitStruct.PLL.PLLP = RCC_PLLP_DIV4;
  RCC_OscInitStruct.PLL.PLLQ = 4;
  if (HAL_RCC_OscConfig(&RCC_OscInitStruct) != HAL_OK)
  {
    _Error_Handler(__FILE__, __LINE__);
  }

    /**Activate the Over-Drive mode
    */
  if (HAL_PWREx_EnableOverDrive() != HAL_OK)
  {
    _Error_Handler(__FILE__, __LINE__);
  }

    /**Initializes the CPU, AHB and APB busses clocks
    */
  RCC_ClkInitStruct.ClockType = RCC_CLOCKTYPE_HCLK|RCC_CLOCKTYPE_SYSCLK
                              |RCC_CLOCKTYPE_PCLK1|RCC_CLOCKTYPE_PCLK2;
  RCC_ClkInitStruct.SYSCLKSource = RCC_SYSCLKSOURCE_PLLCLK;
  RCC_ClkInitStruct.AHBCLKDivider = RCC_SYSCLK_DIV1;
  RCC_ClkInitStruct.APB1CLKDivider = RCC_HCLK_DIV2;
  RCC_ClkInitStruct.APB2CLKDivider = RCC_HCLK_DIV1;

  if (HAL_RCC_ClockConfig(&RCC_ClkInitStruct, FLASH_LATENCY_2) != HAL_OK)
  {
    _Error_Handler(__FILE__, __LINE__);
  }

    /**Configure the Systick interrupt time
    */
  HAL_SYSTICK_Config(HAL_RCC_GetHCLKFreq()/8000);

    /**Configure the Systick
    */
  HAL_SYSTICK_CLKSourceConfig(SYSTICK_CLKSOURCE_HCLK_DIV8);

  /* SysTick_IRQn interrupt configuration */
  HAL_NVIC_SetPriority(SysTick_IRQn, 0, 0);
}

/* USER CODE BEGIN 4 */

// Initialize SBUS receive
void sbus_init(void)
{
	HAL_UART_Receive_DMA(SBUS_UART_INSTANCE, (uint8_t *) sbus_rx_buffer, sizeof(sbus_rx_buffer));
}

// Clear SBUS DMA buffer
void flush_sbus_dma_buffer(void)
{
	HAL_UART_DMAStop(SBUS_UART_INSTANCE);
	memset(sbus_rx_buffer, 0, sizeof(sbus_rx_buffer));
	HAL_UART_Receive_DMA(SBUS_UART_INSTANCE, (uint8_t *) sbus_rx_buffer, sizeof(sbus_rx_buffer));
	return;
}

// Clear debug DMA buffer
void flush_debug_dma_buffer(void)
{
	HAL_UART_DMAStop(SERIAL_DEBUG_UART_INSTANCE);
	memset(debug_rx_buffer, 0, sizeof(debug_rx_buffer));
	HAL_UART_Receive_DMA(SERIAL_DEBUG_UART_INSTANCE, (uint8_t *) debug_rx_buffer, sizeof(debug_rx_buffer));
	return;
}

// Clear IMU DMA buffer
void flush_imu_dma_buffer(void)
{
	HAL_UART_DMAStop(&hi2c1);
	memset(imu_data_buffer, 0, sizeof(imu_data_buffer));
	HAL_UART_Receive_DMA(&hi2c1, (uint8_t *) imu_data_buffer, sizeof(imu_data_buffer));
	return;
}

// UART DMA RX transfer complete callback (receive buffer full)
void HAL_UART_RxCpltCallback(UART_HandleTypeDef *huart)
{

	if (huart->Instance == USART1)
	{
		// This is an unexpected, since it indicates the buffer filled up
		// The idle line interrupt should trigger a DMA restart before this RxCpltCallback
		return;
	}
	if (huart->Instance == UART5)
	{
		// This is an unexpected, since it indicates the buffer filled up
		// The idle line interrupt should trigger a DMA restart before this RxCpltCallback
		return;
	}
	if (huart->Instance == USART6)
	{
		// This is an unexpected, since it indicates the buffer filled up
		// The idle line interrupt should trigger a DMA restart before this RxCpltCallback
		return;
	}
}

// UART DMA TX half transfer complete callback
void HAL_UART_TxHalfCpltCallback(UART_HandleTypeDef *huart)
{
	if (huart->Instance == USART1)
	{
		return;
	}
	return;

}

// UART DMA TX transfer complete callback
void HAL_UART_TxCpltCallback(UART_HandleTypeDef *huart)
{
	if (huart->Instance == USART1)
	{
		flush_debug_dma_buffer();
		return;
	}
	if (huart->Instance == USART6)
	{
		flush_debug_dma_buffer();
		return;
	}
	return;
}

// UART 1 interrupt callback
void USART1_IRQCallback()
{
	//If UART RX line is idle, kick-off a new DMA transfer
	if (USART1->SR & USART_SR_IDLE)
	{
		__HAL_UART_CLEAR_IDLEFLAG (&huart1);
		//sprintf(uart1_tx_buffer, "%s", uart1_rx_buffer);
		//flush_UART1_dma_buffer();
		flg_new_debug_message = true;

	}
	return;
}

// UART 5 interrupt callback
void UART5_IRQCallback()
{
	//If UART RX line is idle, kick-off a new DMA transfer
	if (UART5->SR & USART_SR_IDLE)
	{
		__HAL_UART_CLEAR_IDLEFLAG (&huart5);
		flg_new_debug_message = true;
	}
	return;
}

// UART 6 interrupt callback
void UART6_IRQCallback()
{
	if (USART6->SR & USART_SR_IDLE)
	{
		HAL_GPIO_TogglePin(LED1_GPIO_Port, LED1_Pin);
		HAL_GPIO_TogglePin(LED1_GPIO_Port, LED1_Pin);
		__HAL_UART_CLEAR_IDLEFLAG (SBUS_UART_INSTANCE);
		flg_new_receiver_input = true;
		if(!started_main_loop)
		{
			update_receiver_inputs();
		}
	}
	return;
}

// I2C memory write complete callback
void HAL_I2C_MemTxCpltCallback(I2C_HandleTypeDef *hi2c)
{
	if(hi2c->Instance == I2C1)
		i2c1_mem_tx_irq_flag = true;
	return;
}

// I2C memory read complete callback
void HAL_I2C_MemRxCpltCallback(I2C_HandleTypeDef *hi2c)
{
	if(hi2c->Instance == I2C1)
	{
		// Raise I2C RX interrupt flag
		i2c1_mem_rx_irq_flag = true;

		if(continuous_imu_collection)
			MPU9250_convertRawData(imu_data_buffer);
	}
	return;
}

// GPIO interrupt callback
void HAL_GPIO_EXTI_Callback(uint16_t GPIO_Pin)
{
	//PC15 is connected to IMU interrupt pin
  if(GPIO_Pin == GPIO_PIN_15)
  {
	  // New data is ready. Initiate new transfer
	  imu_data_ready_flag = true;
	  if(continuous_imu_collection)
		  start_imu_dma_transfer();
  }
}

// Convert the SBUS packet into its individual channels
void update_receiver_inputs()
{
	receiver_inputs[0]  = ((sbus_rx_buffer[1]|sbus_rx_buffer[2]<<8) & 0x07FF);
	receiver_inputs[1]  = ((sbus_rx_buffer[2]>>3|sbus_rx_buffer[3]<<5)  & 0x07FF);
	receiver_inputs[2]  = ((sbus_rx_buffer[3]>>6 |sbus_rx_buffer[4]<<2 |sbus_rx_buffer[5]<<10)  & 0x07FF);
	receiver_inputs[3]  = ((sbus_rx_buffer[5]>>1 |sbus_rx_buffer[6]<<7) & 0x07FF);
	receiver_inputs[4]  = ((sbus_rx_buffer[6]>>4 |sbus_rx_buffer[7]<<4) & 0x07FF);
	receiver_inputs[5]  = ((sbus_rx_buffer[7]>>7 |sbus_rx_buffer[8]<<1 |sbus_rx_buffer[9]<<9)   & 0x07FF);
	receiver_inputs[6]  = ((sbus_rx_buffer[9]>>2 |sbus_rx_buffer[10]<<6) & 0x07FF);
	receiver_inputs[7]  = ((sbus_rx_buffer[10]>>5|sbus_rx_buffer[11]<<3) & 0x07FF);
	receiver_inputs[8]  = ((sbus_rx_buffer[12]   |sbus_rx_buffer[13]<<8) & 0x07FF);
	receiver_inputs[9]  = ((sbus_rx_buffer[13]>>3|sbus_rx_buffer[14]<<5) & 0x07FF);
	receiver_inputs[10] = ((sbus_rx_buffer[14]>>6|sbus_rx_buffer[15]<<2|sbus_rx_buffer[16]<<10) & 0x07FF);
	receiver_inputs[11] = ((sbus_rx_buffer[16]>>1|sbus_rx_buffer[17]<<7) & 0x07FF);
	receiver_inputs[12] = ((sbus_rx_buffer[17]>>4|sbus_rx_buffer[18]<<4) & 0x07FF);
	receiver_inputs[13] = ((sbus_rx_buffer[18]>>7|sbus_rx_buffer[19]<<1|sbus_rx_buffer[20]<<9)  & 0x07FF);
	receiver_inputs[14] = ((sbus_rx_buffer[20]>>2|sbus_rx_buffer[21]<<6) & 0x07FF);
	receiver_inputs[15] = ((sbus_rx_buffer[21]>>5|sbus_rx_buffer[22]<<3) & 0x07FF);
	receiver_inputs[16] = ((sbus_rx_buffer[23]));
	return;
}

// Transmit a debug message over UART in blocking mode
void send_debug_string_blocking(UART_HandleTypeDef *huart, char *string)
{
	HAL_UART_Transmit(huart, (uint8_t *) string, strlen (string), 2000);
	return;
}

// Transmit a debug message over UART in non-blocking mode
void send_debug_string_dma(UART_HandleTypeDef *huart, char *string)
{
	HAL_UART_Transmit_DMA(huart, (uint8_t*)string, strlen(string));
	return;
}

// ADC conversion complete callback
void HAL_ADC_ConvCpltCallback(ADC_HandleTypeDef* hadc)
{
	if(hadc->Instance == ADC1)
	{
		//HAL_ADC_Stop_DMA(&hadc1);
		//memset(ADC_BUFF, 0, sizeof(ADC_BUFF));
		HAL_ADC_Start_DMA(&hadc1,(uint32_t*)ADC_BUFF,NUM_ADC_CHANNELS);
	}
	return;
}

// Initialize ADC
void ADC_Init(void)
{
	memset(ADC_BUFF, 0, sizeof(ADC_BUFF));
	HAL_ADC_Start_DMA(&hadc1,(uint32_t*)ADC_BUFF,NUM_ADC_CHANNELS);
	return;
}

// Initiate a non-blocking I2C register read on the IMU data registers
void start_imu_dma_transfer()
{
	// Start a new DMA request for IMU data
	HAL_I2C_Mem_Read_DMA(&hi2c1, MPU9250_ADDRESS<<1, 0x3B, 1 , imu_data_buffer, sizeof(imu_data_buffer));

	// Reset the I2C receive flag
	i2c1_mem_rx_irq_flag = false;

	// Clear the data ready flag
	imu_data_ready_flag = false;

	return;
}

// Start the microseconds timer
void Microseconds_Timer_Init()
{
	HAL_TIM_Base_Start(&htim2);
	return;
}

// Reset the microseconds counter back to 0
void reset_micros()
{
	TIM2->CNT = 0;
	return;
}

// Return the number of microseconds since the last call to reset_micros()
// 32-bit up-counter so it will overflow after 71 minutes
uint32_t get_micros()
{
	return TIM2->CNT;
}

// Set spped of a single motor
// motor_channel: TIMER channel of the motor
// speed_percent: positive float <= 100
void set_motor_speed_percent(uint32_t motor_Channel, float percent)
{
	uint16_t pulse = MOTOR_MIN_PULSE + (percent*0.01)*(MOTOR_MAX_PULSE - MOTOR_MIN_PULSE);
	set_motor_speed_pulse(motor_Channel, pulse);

	return;
}

void set_motor_speed_pulse(uint32_t motor_Channel, float pulse)
{
	TIM_OC_InitTypeDef sConfigOC;
	sConfigOC.OCMode = TIM_OCMODE_PWM1;
	sConfigOC.Pulse = pulse;
	sConfigOC.OCPolarity = TIM_OCPOLARITY_HIGH;
	sConfigOC.OCNPolarity = TIM_OCNPOLARITY_HIGH;
	sConfigOC.OCFastMode = TIM_OCFAST_DISABLE;
	sConfigOC.OCIdleState = TIM_OCIDLESTATE_RESET;
	sConfigOC.OCNIdleState = TIM_OCNIDLESTATE_RESET;

	HAL_TIM_PWM_ConfigChannel(MOTOR_TIMER_INSTANCE, &sConfigOC, motor_Channel);
	HAL_TIM_PWM_Start(MOTOR_TIMER_INSTANCE, motor_Channel);
	return;
}

// Set all motors to a very low speed
void idle_all_motors()
{
	set_motor_speed_percent(MOTOR_RL_TIM_CHANNEL, MOTOR_IDLE_SPEED);
	set_motor_speed_percent(MOTOR_FL_TIM_CHANNEL, MOTOR_IDLE_SPEED);
	set_motor_speed_percent(MOTOR_FR_TIM_CHANNEL, MOTOR_IDLE_SPEED);
	set_motor_speed_percent(MOTOR_RR_TIM_CHANNEL, MOTOR_IDLE_SPEED);
	return;
}

// Stop all motors
void stop_all_motors()
{
	//set_motor_speed_percent(MOTOR_RL_TIM_CHANNEL, 0);
	//set_motor_speed_percent(MOTOR_FL_TIM_CHANNEL, 0);
	//set_motor_speed_percent(MOTOR_FR_TIM_CHANNEL, 0);
	//set_motor_speed_percent(MOTOR_RR_TIM_CHANNEL, 0);
	stop_motor(MOTOR_RL_TIM_CHANNEL);
	stop_motor(MOTOR_FL_TIM_CHANNEL);
	stop_motor(MOTOR_FR_TIM_CHANNEL);
	stop_motor(MOTOR_RR_TIM_CHANNEL);
	return;
}

// Stop a single motor
// motor_channel: TIMER channel of the motor
void stop_motor(uint32_t motor_Channel)
{
	HAL_TIM_PWM_Stop(MOTOR_TIMER_INSTANCE, motor_Channel);
	return;
}

float convert_AHRS_pitch(float AHRS_pitch)
{
	float pitch = AHRS_pitch*(-1);
	return pitch;
}

float convert_AHRS_roll(float AHRS_roll)
{
	float roll = 0;
	if(AHRS_roll > 0)
		roll = AHRS_roll - 180;
	else if(AHRS_roll < 0)
		roll = AHRS_roll + 180;
	return roll;
}

float convert_AHRS_yaw(float AHRS_yaw)
{
	float yaw = 0;
	if(AHRS_yaw > 180)
		yaw = 360 - AHRS_yaw;
	else if(AHRS_yaw < 180)
		yaw = AHRS_yaw*(-1);
	return yaw;
}

// Check if kill switch is activated. If so, put all ESCs in reset
bool check_kill_switch(void)
{
	// Kill switch activated as soon as channel 4 stops reading 172
	if(receiver_inputs[4] != 172)
	{
		kill_switch_active = true;
		stop_all_motors();
		start = 0;
	}
	else
	{
		kill_switch_active = false;
	}
	return kill_switch_active;
}

// Convert the reveiver inputs to the expected YMFC variable names
void convertInputToYMFC()
{
	//Values in receiver_inputs array vary from 170 - 1820
	//YMFC variables (receiver_input_channel_x) vary from 1000 - 2000
	//Scale accordingly
	receiver_input_channel_1 = 1000 + ((receiver_inputs[1] - 170) * 0.606); //roll input
	receiver_input_channel_2 = 1000 + ((receiver_inputs[2] - 170) * 0.606); //pitch input
	receiver_input_channel_3 = 1000 + ((receiver_inputs[0] - 170) * 0.606); //throttle input
	receiver_input_channel_4 = 1000 + ((receiver_inputs[3] - 170) * 0.606); //yaw input
	return;
}

void calculate_pid()
{
  //Roll calculations
  pid_error_temp = gyro_roll_input - pid_roll_setpoint;
  pid_i_mem_roll += pid_i_gain_roll * pid_error_temp;
  if(pid_i_mem_roll > pid_max_roll)pid_i_mem_roll = pid_max_roll;
  else if(pid_i_mem_roll < pid_max_roll * -1)pid_i_mem_roll = pid_max_roll * -1;

  pid_output_roll = pid_p_gain_roll * pid_error_temp + pid_i_mem_roll + pid_d_gain_roll * (pid_error_temp - pid_last_roll_d_error);
  if(pid_output_roll > pid_max_roll)pid_output_roll = pid_max_roll;
  else if(pid_output_roll < pid_max_roll * -1)pid_output_roll = pid_max_roll * -1;

  pid_last_roll_d_error = pid_error_temp;

  //Pitch calculations
  pid_error_temp = gyro_pitch_input - pid_pitch_setpoint;
  pid_i_mem_pitch += pid_i_gain_pitch * pid_error_temp;
  if(pid_i_mem_pitch > pid_max_pitch)pid_i_mem_pitch = pid_max_pitch;
  else if(pid_i_mem_pitch < pid_max_pitch * -1)pid_i_mem_pitch = pid_max_pitch * -1;

  pid_output_pitch = pid_p_gain_pitch * pid_error_temp + pid_i_mem_pitch + pid_d_gain_pitch * (pid_error_temp - pid_last_pitch_d_error);
  if(pid_output_pitch > pid_max_pitch)pid_output_pitch = pid_max_pitch;
  else if(pid_output_pitch < pid_max_pitch * -1)pid_output_pitch = pid_max_pitch * -1;

  pid_last_pitch_d_error = pid_error_temp;

  //Yaw calculations
  pid_error_temp = gyro_yaw_input - pid_yaw_setpoint;
  pid_i_mem_yaw += pid_i_gain_yaw * pid_error_temp;
  if(pid_i_mem_yaw > pid_max_yaw)pid_i_mem_yaw = pid_max_yaw;
  else if(pid_i_mem_yaw < pid_max_yaw * -1)pid_i_mem_yaw = pid_max_yaw * -1;

  pid_output_yaw = pid_p_gain_yaw * pid_error_temp + pid_i_mem_yaw + pid_d_gain_yaw * (pid_error_temp - pid_last_yaw_d_error);
  if(pid_output_yaw > pid_max_yaw)pid_output_yaw = pid_max_yaw;
  else if(pid_output_yaw < pid_max_yaw * -1)pid_output_yaw = pid_max_yaw * -1;

  pid_last_yaw_d_error = pid_error_temp;
}

// Configure the MCU pins as regular GPIOs
void config_LEDs_for_GPIO(void)
{
  GPIO_InitTypeDef GPIO_InitStruct;

  GPIO_InitStruct.Pin = LED1_Pin;
  GPIO_InitStruct.Mode = GPIO_MODE_OUTPUT_PP;
  GPIO_InitStruct.Pull = GPIO_NOPULL;
  GPIO_InitStruct.Speed = GPIO_SPEED_FREQ_LOW;
  HAL_GPIO_Init(LED1_GPIO_Port, &GPIO_InitStruct);

  GPIO_InitStruct.Pin = LED2_Pin;
  GPIO_InitStruct.Mode = GPIO_MODE_OUTPUT_PP;
  GPIO_InitStruct.Pull = GPIO_NOPULL;
  GPIO_InitStruct.Speed = GPIO_SPEED_FREQ_LOW;
  HAL_GPIO_Init(LED2_GPIO_Port, &GPIO_InitStruct);

  GPIO_InitStruct.Pin = LED3_Pin;
  GPIO_InitStruct.Mode = GPIO_MODE_OUTPUT_PP;
  GPIO_InitStruct.Pull = GPIO_NOPULL;
  GPIO_InitStruct.Speed = GPIO_SPEED_FREQ_LOW;
  HAL_GPIO_Init(LED3_GPIO_Port, &GPIO_InitStruct);

  return;
}

// Configure the MCU pins as PWM outputs
void config_LEDs_for_PWM(void)
{
  GPIO_InitTypeDef GPIO_InitStruct;

  GPIO_InitStruct.Pin = LED1_Pin;
  GPIO_InitStruct.Mode = GPIO_MODE_AF_PP;
  GPIO_InitStruct.Pull = GPIO_NOPULL;
  GPIO_InitStruct.Speed = GPIO_SPEED_FREQ_LOW;
  GPIO_InitStruct.Alternate = GPIO_AF2_TIM3;
  HAL_GPIO_Init(LED1_GPIO_Port, &GPIO_InitStruct);

  GPIO_InitStruct.Pin = LED2_Pin;
  GPIO_InitStruct.Mode = GPIO_MODE_AF_PP;
  GPIO_InitStruct.Pull = GPIO_NOPULL;
  GPIO_InitStruct.Speed = GPIO_SPEED_FREQ_LOW;
  GPIO_InitStruct.Alternate = GPIO_AF2_TIM4;
  HAL_GPIO_Init(LED2_GPIO_Port, &GPIO_InitStruct);

  GPIO_InitStruct.Pin = LED3_Pin;
  GPIO_InitStruct.Mode = GPIO_MODE_AF_PP;
  GPIO_InitStruct.Pull = GPIO_NOPULL;
  GPIO_InitStruct.Speed = GPIO_SPEED_FREQ_LOW;
  GPIO_InitStruct.Alternate = GPIO_AF2_TIM4;
  HAL_GPIO_Init(LED3_GPIO_Port, &GPIO_InitStruct);

  return;
}
/* USER CODE END 4 */

void _Error_Handler(char *file, int line)
{
  while(1)
  {
  }
}

/************************ (C) COPYRIGHT STMicroelectronics *****END OF FILE****/
